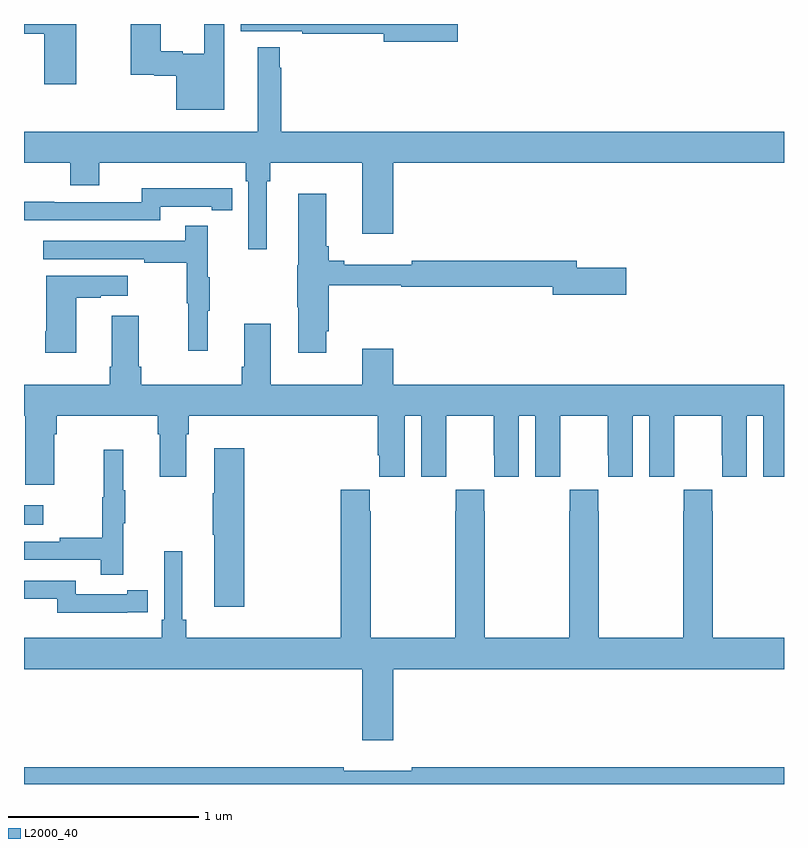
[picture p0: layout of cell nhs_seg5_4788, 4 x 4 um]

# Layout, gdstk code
import gdstk
lib = gdstk.Library(unit=1e-6, precision=1e-09)
def R(c, l, rs):  # rectangles x0, y0, x1, y1
    for r in rs: c.add(gdstk.rectangle(r[:2], r[2:], *l))
def P(c, l, *ps):  # polygons
    for p in ps: c.add(gdstk.Polygon(p, *l))
L2000_40 = (2000, 40)

nhs_seg5_4788 = lib.new_cell('nhs_seg5_4788')
R(nhs_seg5_4788, L2000_40, [(391,880.163,391.102,880.267)])
P(nhs_seg5_4788, L2000_40, [(392.053,882.799),(391.949,882.799),(391.949,882.643),(391.835,882.643),(391.835,882.656),(391.72,882.656),(391.72,882.799),(391.562,882.799),(391.562,882.533),(391.686,882.533),(391.686,882.526),(391.802,882.526),(391.802,882.347),(392.053,882.347)],
  [(393.283,882.799),(392.141,882.799),(392.141,882.761),(392.464,882.761),(392.464,882.748),(392.894,882.748),(392.894,882.706),(393.283,882.706)],
  [(391.276,882.799),(391,882.799),(391,882.748),(391.106,882.748),(391.106,882.483),(391.276,882.483)],
  [(392.278,881.972),(392.297,881.972),(392.297,882.068),(392.78,882.068),(392.78,881.694),(392.944,881.694),(392.944,882.068),(395,882.068),(395,882.232),(392.353,882.232),(392.353,882.569),(392.346,882.569),(392.346,882.676),(392.231,882.676),(392.231,882.232),(391,882.232),(391,882.068),(391.244,882.068),(391.244,881.951),(391.396,881.951),(391.396,882.068),(392.168,882.068),(392.168,881.972),(392.181,881.972),(392.181,881.613),(392.278,881.613)],
  [(391.716,881.838),(391.988,881.838),(391.988,881.818),(392.096,881.818),(392.096,881.934),(391.988,881.934),(391.988,881.935),(391.62,881.935),(391.62,881.862),(391.16,881.862),(391.16,881.864),(391,881.864),(391,881.766),(391.716,881.766)],
  [(392.59,881.182),(392.603,881.182),(392.603,881.424),(392.986,881.424),(392.986,881.416),(393.782,881.416),(393.782,881.374),(394.171,881.374),(394.171,881.516),(393.91,881.516),(393.91,881.552),(393.04,881.552),(393.04,881.533),(392.686,881.533),(392.686,881.552),(392.603,881.552),(392.603,881.629),(392.59,881.629),(392.59,881.905),(392.444,881.905),(392.444,881.529),(392.437,881.529),(392.437,881.308),(392.444,881.308),(392.444,881.07),(392.59,881.07)],
  [(391.967,881.291),(391.978,881.291),(391.978,881.465),(391.967,881.465),(391.967,881.737),(391.849,881.737),(391.849,881.658),(391.101,881.658),(391.101,881.562),(391.633,881.562),(391.633,881.542),(391.857,881.542),(391.857,881.328),(391.864,881.328),(391.864,881.079),(391.967,881.079)],
  [(391.276,881.359),(391.403,881.359),(391.403,881.369),(391.546,881.369),(391.546,881.473),(391.118,881.473),(391.118,881.182),(391.111,881.182),(391.111,881.07),(391.276,881.07)],
  [(391.159,880.64),(391.172,880.64),(391.172,880.736),(391.703,880.736),(391.703,880.64),(391.715,880.64),(391.715,880.416),(391.855,880.416),(391.855,880.64),(391.868,880.64),(391.868,880.736),(392.861,880.736),(392.861,880.528),(392.87,880.528),(392.87,880.416),(393.004,880.416),(393.004,880.736),(393.092,880.736),(393.092,880.416),(393.222,880.416),(393.222,880.528),(393.223,880.528),(393.223,880.736),(393.473,880.736),(393.473,880.528),(393.474,880.528),(393.474,880.416),(393.604,880.416),(393.604,880.736),(393.692,880.736),(393.692,880.416),(393.822,880.416),(393.822,880.528),(393.823,880.528),(393.823,880.736),(394.073,880.736),(394.073,880.528),(394.074,880.528),(394.074,880.416),(394.204,880.416),(394.204,880.736),(394.292,880.736),(394.292,880.416),(394.422,880.416),(394.422,880.528),(394.423,880.528),(394.423,880.736),(394.673,880.736),(394.673,880.528),(394.674,880.528),(394.674,880.416),(394.804,880.416),(394.804,880.736),(394.892,880.736),(394.892,880.416),(395,880.416),(395,880.9),(392.944,880.9),(392.944,881.089),(392.78,881.089),(392.78,880.9),(392.299,880.9),(392.299,881.221),(392.159,881.221),(392.159,880.996),(392.147,880.996),(392.147,880.9),(391.616,880.9),(391.616,880.996),(391.603,880.996),(391.603,881.263),(391.463,881.263),(391.463,880.996),(391.451,880.996),(391.451,880.9),(391,880.9),(391,880.736),(391.007,880.736),(391.007,880.374),(391.159,880.374)],
  [(392.159,880.567),(392,880.567),(392,880.328),(391.993,880.328),(391.993,880.111),(392,880.111),(392,879.732),(392.159,879.732)],
  [(391.523,880.171),(391.534,880.171),(391.534,880.345),(391.523,880.345),(391.523,880.558),(391.42,880.558),(391.42,880.308),(391.413,880.308),(391.413,880.094),(391.189,880.094),(391.189,880.074),(391,880.074),(391,879.978),(391.405,879.978),(391.405,879.9),(391.523,879.9)],
  [(392.944,879.404),(395,879.404),(395,879.568),(394.626,879.568),(394.626,880.235),(394.623,880.235),(394.623,880.348),(394.473,880.348),(394.473,880.235),(394.471,880.235),(394.471,879.568),(394.026,879.568),(394.026,880.235),(394.023,880.235),(394.023,880.348),(393.873,880.348),(393.873,880.235),(393.871,880.235),(393.871,879.568),(393.426,879.568),(393.426,880.235),(393.423,880.235),(393.423,880.348),(393.273,880.348),(393.273,880.235),(393.271,880.235),(393.271,879.568),(392.826,879.568),(392.826,880.235),(392.819,880.235),(392.819,880.348),(392.666,880.348),(392.666,879.568),(391.853,879.568),(391.853,879.664),(391.834,879.664),(391.834,880.024),(391.737,880.024),(391.737,879.664),(391.724,879.664),(391.724,879.568),(391,879.568),(391,879.404),(392.78,879.404),(392.78,879.03),(392.944,879.03)],
  [(391.544,879.702),(391.652,879.702),(391.652,879.818),(391.544,879.818),(391.544,879.798),(391.272,879.798),(391.272,879.87),(391,879.87),(391,879.774),(391.176,879.774),(391.176,879.701),(391.544,879.701)],
  [(395,878.888),(393.04,878.888),(393.04,878.869),(392.684,878.869),(392.684,878.888),(391,878.888),(391,878.799),(395,878.799)])

lib.write_gds('nhs_seg5_4788.gds')
